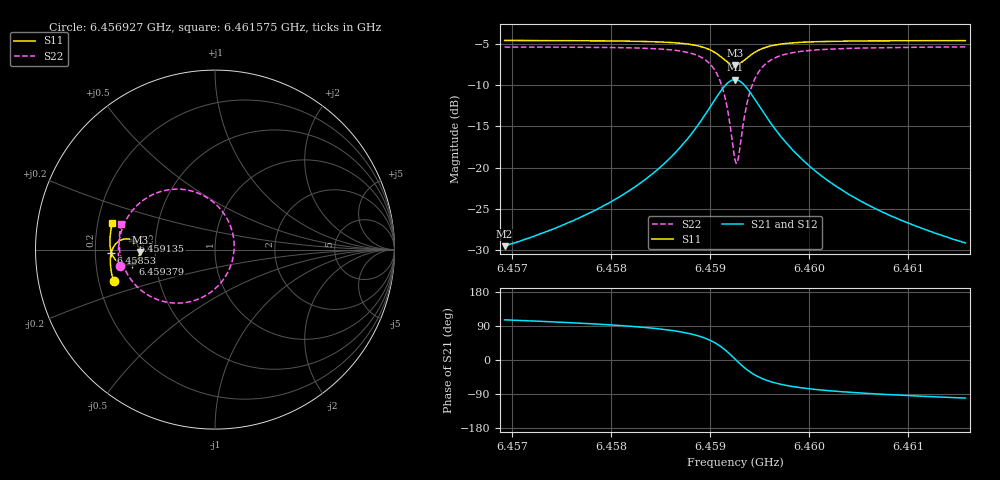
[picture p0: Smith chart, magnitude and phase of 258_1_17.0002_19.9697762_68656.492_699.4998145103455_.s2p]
#  HZ  S  RI  R  50.00
! Rohde & Schwarz Vector Network Analyzer
! Rohde-Schwarz,ZNB20-2Port,1311601062101988,3.16
! Created: UTC 3/20/2024, 11:03:39 PM
! freq[Hz]  re:S11  im:S11  re:S21  im:S21  re:S12  im:S12  re:S22  im:S22
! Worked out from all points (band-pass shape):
!   401 points, 6.456927 GHz to 6.461575 GHz, reference 50 ohm
!   highest |S21| = -9.30 dB at 6.459251 GHz (marker M1); lowest = -29.5 dB at 6.456927 GHz (marker M2)
!   |S21| within 3 dB of the highest: 6.459018 GHz to 6.459484 GHz (465.5 kHz wide, 0.00721 % of centre)
!   lowest |S11| = -7.5 dB at 6.459251 GHz (marker M3), VSWR 2.45, Z = 20.4 - j0.621 ohm
!   |S11| at or under -10 dB: nowhere
!   |S22| runs from -19.5 to -5.3 dB; largest |S21 - S12| = 0.013
!   S11 on the Smith chart (normalised r, x): 6.456927 GHz: 0.26, -0.14; 6.45853 GHz: 0.27, -0.01; 6.459135 GHz: 0.37, +0.05; 6.459379 GHz: 0.37, -0.07; 6.461575 GHz: 0.26, +0.12
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6.456927e9  -0.5651 -0.1768  -0.00916 0.0321  -0.00744 0.0322  -0.5318 -0.0936
6.4577055e9  -0.5798 -0.109  -0.00597 0.05  -0.0034 0.0494  -0.5385 -0.00281
6.4581354e9  -0.5832 -0.0662  -0.000206 0.0694  0.00297 0.0681  -0.531 0.0649
6.458484e9  -0.5796 -0.0247  0.0133 0.0981  0.0174 0.0954  -0.5064 0.143
6.4585305e9  -0.5782 -0.0183  0.0167 0.1035  0.0208 0.1007  -0.5002 0.156
6.4587396e9  -0.5663 0.0135  0.0426 0.1353  0.0468 0.1306  -0.4517 0.2279
6.4588907e9  -0.5451 0.0398  0.0849 0.1655  0.0883 0.1591  -0.3737 0.2925
6.4590417e9  -0.4993 0.0596  0.1762 0.1848  0.1774 0.1774  -0.2067 0.3368
6.4591347e9  -0.4552 0.0497  0.2656 0.1541  0.2659 0.1482  -0.0409 0.2875
6.4591811e9  -0.4341 0.0312  0.3091 0.1117  0.3104 0.1064  0.0415 0.212
6.4592509e9  -0.4194 -0.0125  0.3424 0.0157  0.346 0.00877  0.1064 0.0336
6.4592625e9  -0.4198 -0.0204  0.3422 -0.00196  0.3461 -0.00953  0.1063 0.000385
6.4592857e9  -0.4232 -0.0359  0.3368 -0.0363  0.3408 -0.0454  0.0956 -0.0648
6.4593787e9  -0.4603 -0.0778  0.2673 -0.1367  0.2664 -0.1497  -0.0453 -0.2518
6.4594252e9  -0.483 -0.0847  0.2235 -0.1591  0.2197 -0.1718  -0.1333 -0.2886
6.4594833e9  -0.5079 -0.0837  0.1746 -0.1688  0.1681 -0.1797  -0.23 -0.2976
6.4596343e9  -0.549 -0.0623  0.0919 -0.1529  0.0836 -0.1586  -0.387 -0.2448
6.459797e9  -0.5693 -0.0349  0.0497 -0.1257  0.0422 -0.1281  -0.4628 -0.1743
6.4600294e9  -0.581 -0.00124  0.0226 -0.0963  0.0169 -0.0968  -0.5074 -0.097
6.460378e9  -0.5856 0.0399  0.00655 -0.0698  0.00243 -0.0693  -0.5292 -0.0179
6.4608079e9  -0.5838 0.083  -0.00118 -0.0514  -0.00397 -0.0506  -0.5337 0.0504
6.4615748e9  -0.5715 0.1507  -0.00628 -0.0343  -0.00803 -0.0335  -0.5225 0.1408
